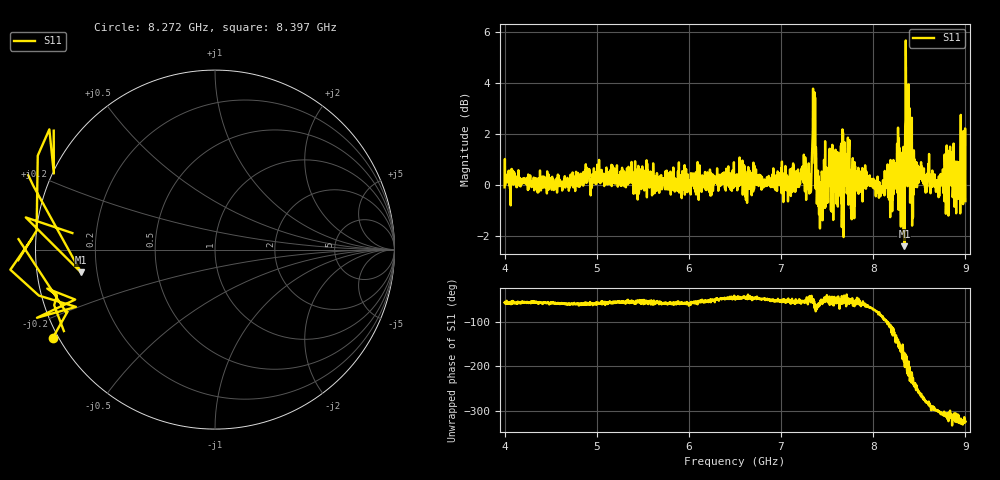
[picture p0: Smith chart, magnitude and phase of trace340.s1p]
! Created with skrf 1.8.0 (http://scikit-rf.org).
# Hz S RI R 50.0
!freq ReS11 ImS11
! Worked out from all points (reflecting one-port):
!   1601 points, 4 GHz to 9 GHz, reference 50 ohm
!   lowest |S11| = -2.4 dB at 8.338 GHz (marker M1), VSWR 7.23, Z = 6.96 - j4.15 ohm
!   phase of S11 starts at -57 deg and turns -267 deg over the sweep
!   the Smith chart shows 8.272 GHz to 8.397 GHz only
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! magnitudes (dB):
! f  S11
! 4 GHz  -0.1
! 4.625 GHz  -0.2
! 5.25 GHz  0.0
! 5.875 GHz  0.1
! 6.5 GHz  0.3
! 7.125 GHz  0.5
! 7.241 GHz  0.5
! 7.303 GHz  -0.1
! 7.356 GHz  3.3
! 7.372 GHz  1.5
! 7.397 GHz  -0.3
! 7.412 GHz  -1.2
! 7.512 GHz  0.2
! 7.562 GHz  0.1
! 7.669 GHz  0.6
! 7.75 GHz  -0.5
! 8.188 GHz  1.0
! 8.259 GHz  1.6
! 8.312 GHz  1.2
! 8.338 GHz  -2.4
! 8.375 GHz  1.0
! 8.384 GHz  3.9
! 8.447 GHz  1.0
! 8.697 GHz  -0.3
! 8.822 GHz  1.3
! 8.903 GHz  0.9
! 8.972 GHz  0.4
! 9 GHz  -0.6
